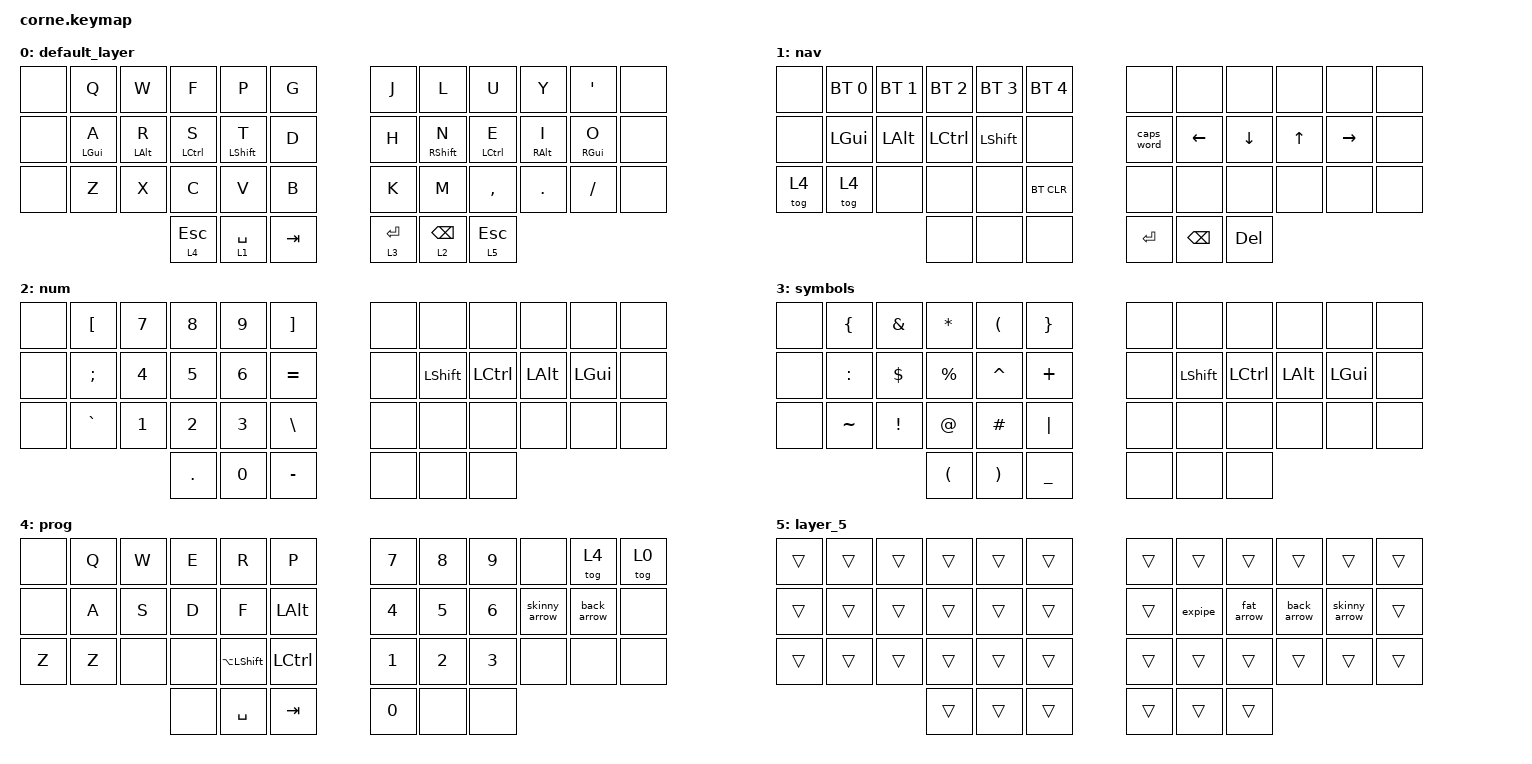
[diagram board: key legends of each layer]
/*
 * Copyright (c) 2020 The ZMK Contributors
 *
 * SPDX-License-Identifier: MIT
 */

#include <behaviors.dtsi>
#include <dt-bindings/zmk/bt.h>
#include <dt-bindings/zmk/keys.h>

&mt {
    tapping-term-ms = <200>;
    quick-tap-ms = <150>;
    require-prior-idle-ms = <125>;
    flavor = "tap-preferred";
};

/ {
    macros {
        expipe: expipe {
            compatible = "zmk,behavior-macro";
            #binding-cells = <0>;
            bindings = <&kp PIPE &kp GT>;
            label = "EXPIPE";
        };

        fat_arrow: fat_arrow {
            compatible = "zmk,behavior-macro";
            #binding-cells = <0>;
            bindings = <&kp EQUAL &kp GT>;
            label = "FAT_ARROW";
        };

        skinny_arrow: skinny_arrow {
            compatible = "zmk,behavior-macro";
            #binding-cells = <0>;
            bindings = <&kp MINUS &kp GT>;
            label = "SKINNY_ARROW";
        };

        back_arrow: back_arrow {
            compatible = "zmk,behavior-macro";
            #binding-cells = <0>;
            bindings = <&kp LT &kp MINUS>;
            label = "BACK_ARROW";
        };

        paren_rocket: paren_rocket {
            compatible = "zmk,behavior-macro";
            #binding-cells = <0>;
            bindings = <&kp LPAR &kp RPAR &kp EQUAL &kp GT &kp RBKT &kp RBRC>;
            label = "PAREN_ROCKET";
        };
    };

    keymap {
        compatible = "zmk,keymap";

        default_layer {
            // -----------------------------------------------------------------------------------------
            // |  TAB |  Q  |  W  |  E  |  R  |  T  |   |  Y  |  U   |  I  |  O  |  P  | BSPC |
            // | CTRL |  A  |  S  |  D  |  F  |  G  |   |  H  |  J   |  K  |  L  |  ;  |  '   |
            // | SHFT |  Z  |  X  |  C  |  V  |  B  |   |  N  |  M   |  ,  |  .  |  /  | ESC  |
            //                    | GUI | LWR | SPC |   | ENT | RSE  | ALT |

            bindings = <
&none  &kp Q       &kp W       &kp F               &kp P         &kp G      &kp J        &kp L            &kp U               &kp Y       &kp SQT     &none
&none  &mt LGUI A  &mt LALT R  &mt LEFT_CONTROL S  &mt LSHIFT T  &kp D      &kp H        &mt RSHIFT N     &mt LEFT_CONTROL E  &mt RALT I  &mt RGUI O  &none
&none  &kp Z       &kp X       &kp C               &kp V         &kp B      &kp K        &kp M            &kp COMMA           &kp DOT     &kp SLASH   &none
                               &lt 4 ESCAPE        &lt 1 SPACE   &kp TAB    &lt 3 ENTER  &lt 2 BACKSPACE  &lt 5 ESCAPE
            >;
        };

        nav {
            bindings = <
&none   &bt BT_SEL 0  &bt BT_SEL 1  &bt BT_SEL 2  &bt BT_SEL 3  &bt BT_SEL 4    &none       &none     &none     &none   &none      &none
&none   &kp LGUI      &kp LALT      &kp LCTRL     &kp LSHFT     &none           &caps_word  &kp LEFT  &kp DOWN  &kp UP  &kp RIGHT  &none
&tog 4  &tog 4        &none         &none         &none         &bt BT_CLR      &none       &none     &none     &none   &none      &none
                                    &none         &none         &none           &kp RET     &kp BSPC  &kp DEL
            >;
        };

        num {
            bindings = <
&none  &kp LBKT   &kp N7  &kp N8   &kp N9  &kp RBKT     &none  &none      &none      &none     &none     &none
&none  &kp SEMI   &kp N4  &kp N5   &kp N6  &kp EQUAL    &none  &kp LSHFT  &kp LCTRL  &kp LALT  &kp LGUI  &none
&none  &kp GRAVE  &kp N1  &kp N2   &kp N3  &kp BSLH     &none  &none      &none      &none     &none     &none
                          &kp DOT  &kp N0  &kp MINUS    &none  &none      &none
            >;
        };

        symbols {
            bindings = <
&none  &kp LEFT_BRACE  &kp AMPERSAND    &kp ASTERISK          &kp LEFT_PARENTHESIS   &kp RIGHT_BRACE    &none  &none      &none      &none     &none     &none
&none  &kp COLON       &kp DOLLAR       &kp PERCENT           &kp CARET              &kp PLUS           &none  &kp LSHFT  &kp LCTRL  &kp LALT  &kp LGUI  &none
&none  &kp TILDE       &kp EXCLAMATION  &kp AT_SIGN           &kp HASH               &kp PIPE           &none  &none      &none      &none     &none     &none
                                        &kp LEFT_PARENTHESIS  &kp RIGHT_PARENTHESIS  &kp UNDERSCORE     &none  &none      &none
            >;
        };

        prog {
            bindings = <
&none  &kp Q  &kp W  &kp E  &kp R               &kp P           &kp N7  &kp N8  &kp N9  &none          &tog 4       &tog 0
&none  &kp A  &kp S  &kp D  &kp F               &kp LEFT_ALT    &kp N4  &kp N5  &kp N6  &skinny_arrow  &back_arrow  &none
&kp Z  &kp Z  &none  &none  &kp LA(LEFT_SHIFT)  &kp LCTRL       &kp N1  &kp N2  &kp N3  &none          &none        &none
                     &none  &kp SPACE           &kp TAB         &kp N0  &none   &none
            >;
        };

        layer_5 {
            bindings = <
&trans  &trans  &trans  &trans  &trans  &trans    &trans  &trans   &trans      &trans       &trans         &trans
&trans  &trans  &trans  &trans  &trans  &trans    &trans  &expipe  &fat_arrow  &back_arrow  &skinny_arrow  &trans
&trans  &trans  &trans  &trans  &trans  &trans    &trans  &trans   &trans      &trans       &trans         &trans
                        &trans  &trans  &trans    &trans  &trans   &trans
            >;
        };
    };
};
